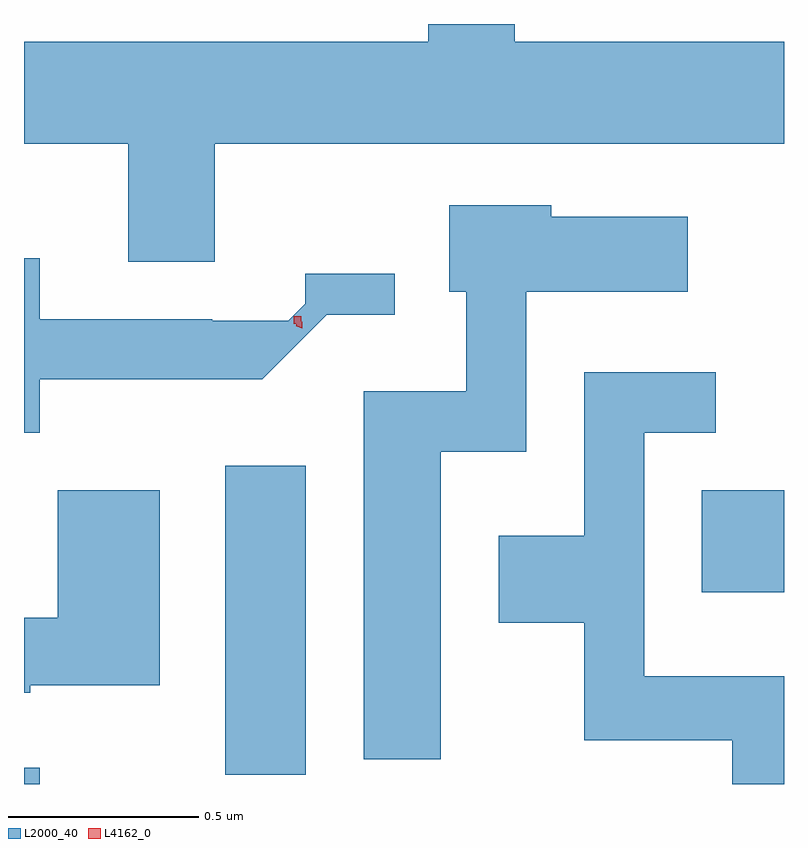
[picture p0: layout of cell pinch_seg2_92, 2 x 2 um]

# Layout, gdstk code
import gdstk
lib = gdstk.Library(unit=1e-6, precision=1e-09)
def R(c, l, rs):  # rectangles x0, y0, x1, y1
    for r in rs: c.add(gdstk.rectangle(r[:2], r[2:], *l))
def P(c, l, *ps):  # polygons
    for p in ps: c.add(gdstk.Polygon(p, *l))
L2000_40 = (2000, 40)
L4162_0 = (4162, 0)

pinch_seg2_92 = lib.new_cell('pinch_seg2_92')
R(pinch_seg2_92, L2000_40, [(1103.507,1099.911,1103.549,1099.954), (1104.036,1099.936,1104.249,1100.749), (1105.291,1100.416,1105.507,1100.684)])
P(pinch_seg2_92, L2000_40, [(1104.009,1101.596),(1105.507,1101.596),(1105.507,1101.864),(1104.799,1101.864),(1104.799,1101.911),(1104.571,1101.911),(1104.571,1101.864),(1103.507,1101.864),(1103.507,1101.596),(1103.781,1101.596),(1103.781,1101.286),(1104.009,1101.286)],
  [(1104.604,1100.786),(1104.829,1100.786),(1104.829,1101.206),(1105.254,1101.206),(1105.254,1101.404),(1104.894,1101.404),(1104.894,1101.434),(1104.626,1101.434),(1104.626,1101.206),(1104.671,1101.206),(1104.671,1100.944),(1104.401,1100.944),(1104.401,1099.976),(1104.604,1099.976)],
  [(1103.549,1100.976),(1104.134,1100.976),(1104.304,1101.146),(1104.483,1101.146),(1104.483,1101.254),(1104.247,1101.254),(1104.247,1101.175),(1104.202,1101.13),(1104.002,1101.13),(1104.002,1101.134),(1103.549,1101.134),(1103.549,1101.294),(1103.507,1101.294),(1103.507,1100.836),(1103.549,1100.836)],
  [(1105.507,1100.194),(1105.139,1100.194),(1105.139,1100.836),(1105.328,1100.836),(1105.328,1100.994),(1104.981,1100.994),(1104.981,1100.564),(1104.756,1100.564),(1104.756,1100.336),(1104.981,1100.336),(1104.981,1100.026),(1105.371,1100.026),(1105.371,1099.911),(1105.507,1099.911)],
  [(1103.524,1100.171),(1103.864,1100.171),(1103.864,1100.684),(1103.596,1100.684),(1103.596,1100.349),(1103.507,1100.349),(1103.507,1100.151),(1103.524,1100.151)])
R(pinch_seg2_92, L4162_0, [(1104.217,1101.122,1104.237,1101.142)])
P(pinch_seg2_92, L4162_0, [(1104.238,1101.111),(1104.223,1101.116),(1104.222,1101.131),(1104.222,1101.132),(1104.223,1101.132),(1104.239,1101.128),(1104.239,1101.111),(1104.239,1101.111)])

lib.write_gds('pinch_seg2_92.gds')
